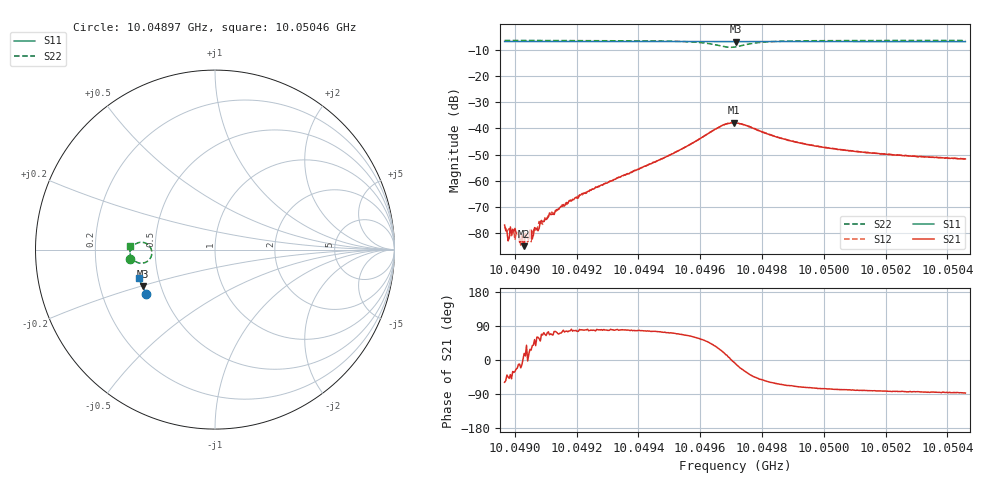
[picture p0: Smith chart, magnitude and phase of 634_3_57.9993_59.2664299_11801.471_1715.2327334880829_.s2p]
#  HZ  S  RI  R  50.00
! Rohde & Schwarz Vector Network Analyzer
! Rohde-Schwarz,ZNB20-2Port,1311601062101988,3.16
! Created: UTC 3/21/2024, 1:18:46 AM
! freq[Hz]  re:S11  im:S11  re:S21  im:S21  re:S12  im:S12  re:S22  im:S22
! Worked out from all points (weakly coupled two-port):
!   401 points, 10.04897 GHz to 10.05046 GHz, reference 50 ohm
!   highest |S21| = -37.73 dB at 10.04971 GHz (marker M1); lowest = -84.9 dB at 10.04903 GHz (marker M2)
!   lowest |S11| = -6.9 dB at 10.04972 GHz (marker M3), VSWR 2.65, Z = 19.8 - j10.1 ohm
!   |S11| at or under -10 dB: nowhere
!   |S22| runs from -9.1 to -6.5 dB; largest |S21 - S12| = 0.0012
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1.0048967e10  -0.3818 -0.2477  7.49e-05 -0.000123  8.49e-05 -0.000104  -0.4729 -0.0521
1.0048982e10  -0.3823 -0.2466  5.37e-05 -6.06e-05  0.000109 -5.68e-05  -0.473 -0.0507
1.0048993e10  -0.3828 -0.246  0.000103 -6.07e-05  8.95e-05 -5.08e-05  -0.473 -0.0498
1.0049012e10  -0.3833 -0.245  9.91e-05 -2.08e-05  9.4e-05 -5.71e-06  -0.4731 -0.0482
1.0049031e10  -0.384 -0.2439  5.45e-05 1.7e-05  8.67e-05 1.38e-05  -0.4732 -0.0467
1.0049049e10  -0.3845 -0.2429  0.000101 5.43e-05  9.54e-05 6.42e-05  -0.4732 -0.0451
1.0049068e10  -0.3852 -0.2418  9.85e-05 7.7e-05  4.56e-05 0.000106  -0.4732 -0.0436
1.004909e10  -0.386 -0.2404  6.78e-05 0.000152  2.44e-05 0.000146  -0.4733 -0.0416
1.0049124e10  -0.3871 -0.2386  9.57e-05 0.000212  6.07e-05 0.000227  -0.4733 -0.0386
1.004915e10  -0.3879 -0.2372  0.000107 0.000308  9.55e-05 0.000307  -0.4732 -0.0362
1.0049217e10  -0.3902 -0.2332  0.000102 0.000562  9.13e-05 0.000524  -0.4729 -0.0296
1.0049467e10  -0.3978 -0.2186  0.000671 0.0024  0.000518 0.00245  -0.4655 0.00385
1.0049545e10  -0.4001 -0.2138  0.00167 0.00385  0.00142 0.00394  -0.4537 0.0216
1.0049638e10  -0.4024 -0.2081  0.00662 0.00594  0.00621 0.00631  -0.4035 0.0405
1.0049679e10  -0.403 -0.2059  0.0114 0.00357  0.0111 0.00433  -0.3608 0.0138
1.0049709e10  -0.4035 -0.2045  0.0129 -0.00126  0.0129 -0.000226  -0.3537 -0.0325
1.0049713e10  -0.4038 -0.2043  0.0127 -0.00195  0.0128 -0.000945  -0.3555 -0.0381
1.0049717e10  -0.4036 -0.2041  0.0125 -0.00256  0.0127 -0.0017  -0.3578 -0.0436
1.0049806e10  -0.407 -0.1994  0.0049 -0.00674  0.00539 -0.00648  -0.4374 -0.0694
1.0049963e10  -0.4115 -0.1899  0.00134 -0.00456  0.00164 -0.00452  -0.4688 -0.0327
1.0050212e10  -0.4178 -0.1747  0.000431 -0.00317  0.000622 -0.00316  -0.4751 -0.00115
1.0050458e10  -0.4234 -0.1597  0.000127 -0.00262  0.000307 -0.00263  -0.4753 0.0204
